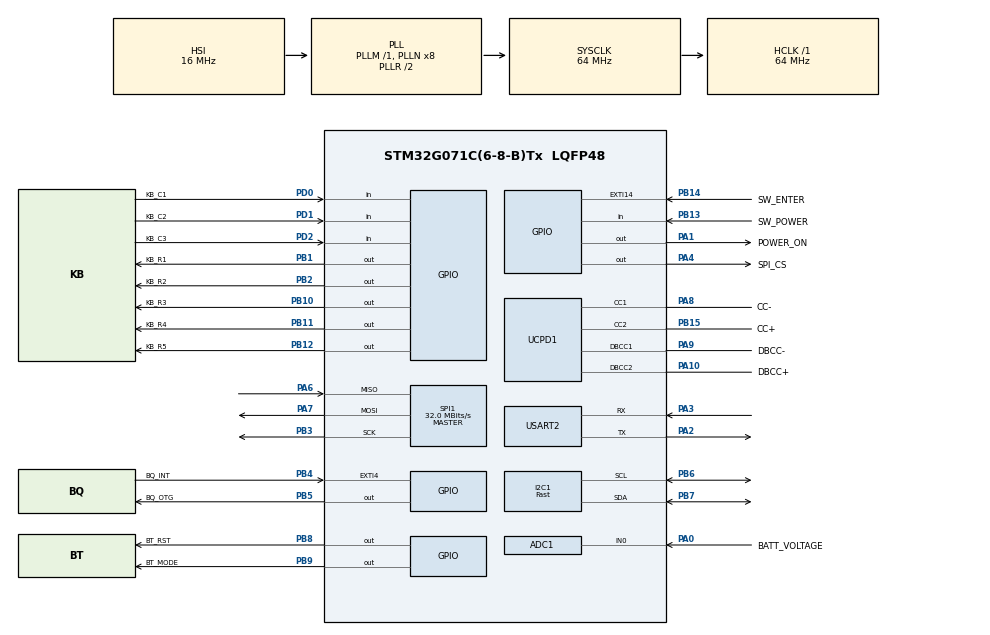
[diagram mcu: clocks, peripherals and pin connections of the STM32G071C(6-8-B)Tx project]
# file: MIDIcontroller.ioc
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ADC1.Channel-0\#ChannelRegularConversion=ADC_CHANNEL_0
ADC1.ClockPrescaler=ADC_CLOCK_ASYNC_DIV256
ADC1.ContinuousConvMode=ENABLE
ADC1.DMAContinuousRequests=DISABLE
ADC1.EOCSelection=ADC_EOC_SINGLE_CONV
ADC1.NbrOfConversion=1
ADC1.NbrOfConversionFlag=1
ADC1.OversamplingMode=DISABLE
ADC1.Rank-0\#ChannelRegularConversion=1
ADC1.SamplingTime-0\#ChannelRegularConversion=ADC_SAMPLINGTIME_COMMON_1
ADC1.SamplingTimeCommon1=ADC_SAMPLETIME_160CYCLES_5
ADC1.ScanConvMode=ADC_SCAN_DISABLE
ADC1.master=1
Dma.I2C1_TX.0.Direction=DMA_MEMORY_TO_PERIPH
Dma.I2C1_TX.0.EventEnable=DISABLE
Dma.I2C1_TX.0.Instance=DMA1_Channel1
Dma.I2C1_TX.0.MemDataAlignment=DMA_MDATAALIGN_BYTE
Dma.I2C1_TX.0.MemInc=DMA_MINC_ENABLE
Dma.I2C1_TX.0.Mode=DMA_NORMAL
Dma.I2C1_TX.0.PeriphDataAlignment=DMA_PDATAALIGN_BYTE
Dma.I2C1_TX.0.PeriphInc=DMA_PINC_DISABLE
Dma.I2C1_TX.0.Polarity=HAL_DMAMUX_REQ_GEN_RISING
Dma.I2C1_TX.0.Priority=DMA_PRIORITY_VERY_HIGH
Dma.I2C1_TX.0.RequestNumber=1
Dma.I2C1_TX.0.SignalID=NONE
Dma.I2C1_TX.0.SyncEnable=DISABLE
Dma.I2C1_TX.0.SyncPolarity=HAL_DMAMUX_SYNC_NO_EVENT
Dma.I2C1_TX.0.SyncRequestNumber=1
Dma.I2C1_TX.0.SyncSignalID=NONE
Dma.Request0=I2C1_TX
I2C1.I2C_Speed_Mode=I2C_Fast
I2C1.Timing=0x00602173
Mcu.Family=STM32G0
Mcu.Name=STM32G071C(6-8-B)Tx
Mcu.Package=LQFP48
NVIC.ADC1_COMP_IRQn=true\:0\:0\:false\:false\:true\:true\:true
NVIC.DMA1_Channel1_IRQn=true\:0\:0\:false\:false\:true\:false\:true
NVIC.EXTI4_15_IRQn=true\:0\:0\:false\:false\:true\:true\:true
NVIC.I2C1_IRQn=true\:0\:0\:false\:false\:true\:true\:true
NVIC.TIM1_BRK_UP_TRG_COM_IRQn=true\:0\:0\:false\:false\:true\:true\:true
NVIC.TIM1_CC_IRQn=true\:0\:0\:false\:false\:true\:true\:true
NVIC.TIM2_IRQn=true\:0\:0\:false\:false\:true\:true\:true
NVIC.TIM3_IRQn=true\:0\:0\:false\:false\:true\:true\:true
NVIC.TIM6_DAC_LPTIM1_IRQn=true\:0\:0\:false\:false\:true\:true\:true
NVIC.TIM7_LPTIM2_IRQn=true\:0\:0\:false\:false\:true\:true\:true
NVIC.USART2_IRQn=true\:0\:0\:false\:false\:true\:true\:true
PA0.GPIO_Label=BATT_VOLTAGE
PA0.Mode=IN0
PA0.Signal=ADC1_IN0
PA1.GPIO_Label=POWER_ON
PA1.GPIO_ModeDefaultOutputPP=GPIO_MODE_OUTPUT_PP
PA1.GPIO_PuPd=GPIO_NOPULL
PA1.GPIO_Speed=GPIO_SPEED_FREQ_LOW
PA1.PinState=GPIO_PIN_RESET
PA1.Signal=GPIO_Output
PA10.GPIO_Label=DBCC+
PA10.Mode=EnableDeadBattery
PA10.Signal=UCPD1_DBCC2
PA13.Mode=Serial_Wire
PA13.Signal=SYS_SWDIO
PA14-BOOT0.Mode=Serial_Wire
PA14-BOOT0.Signal=SYS_SWCLK
PA2.Mode=Asynchronous
PA2.Signal=USART2_TX
PA3.Mode=Asynchronous
PA3.Signal=USART2_RX
PA4.GPIO_Label=SPI_CS
PA4.Signal=GPIO_Output
PA5.GPIO_Label=DET_5V
PA5.Signal=ADC1_IN5
PA6.Mode=Full_Duplex_Master
PA6.Signal=SPI1_MISO
PA7.Mode=Full_Duplex_Master
PA7.Signal=SPI1_MOSI
PA8.GPIO_Label=CC-
PA8.Mode=Sink_AllSignals
PA8.Signal=UCPD1_CC1
PA9.GPIO_Label=DBCC-
PA9.Mode=EnableDeadBattery
PA9.Signal=UCPD1_DBCC1
PB1.GPIO_Label=KB_R1
PB1.GPIO_Speed=GPIO_SPEED_FREQ_VERY_HIGH
PB1.Signal=GPIO_Output
PB10.GPIO_Label=KB_R3
PB10.GPIO_Speed=GPIO_SPEED_FREQ_VERY_HIGH
PB10.Signal=GPIO_Output
PB11.GPIO_Label=KB_R4
PB11.GPIO_Speed=GPIO_SPEED_FREQ_VERY_HIGH
PB11.Signal=GPIO_Output
PB12.GPIO_Label=KB_R5
PB12.GPIO_Speed=GPIO_SPEED_FREQ_VERY_HIGH
PB12.Signal=GPIO_Output
PB13.GPIO_Label=SW_POWER
PB13.GPIO_PuPd=GPIO_PULLDOWN
PB13.Signal=GPIO_Input
PB14.GPIO_Label=SW_ENTER
PB14.GPIO_ModeDefaultEXTI=GPIO_MODE_IT_FALLING
PB14.Signal=GPXTI14
PB15.GPIO_Label=CC+
PB15.Mode=Sink_AllSignals
PB15.Signal=UCPD1_CC2
PB2.GPIO_Label=KB_R2
PB2.GPIO_Speed=GPIO_SPEED_FREQ_VERY_HIGH
PB2.Signal=GPIO_Output
PB3.Mode=Full_Duplex_Master
PB3.Signal=SPI1_SCK
PB4.GPIO_Label=BQ_INT
PB4.Signal=GPXTI4
PB5.GPIO_Label=BQ_OTG
PB5.Signal=GPIO_Output
PB6.Mode=I2C
PB6.Signal=I2C1_SCL
PB7.Mode=I2C
PB7.Signal=I2C1_SDA
PB8.GPIO_Label=BT_RST
PB8.GPIO_ModeDefaultOutputPP=GPIO_MODE_OUTPUT_OD
PB8.GPIO_Speed=GPIO_SPEED_FREQ_VERY_HIGH
PB8.PinState=GPIO_PIN_RESET
PB8.Signal=GPIO_Output
PB9.GPIO_Label=BT_MODE
PB9.GPIO_ModeDefaultOutputPP=GPIO_MODE_OUTPUT_OD
PB9.GPIO_Speed=GPIO_SPEED_FREQ_VERY_HIGH
PB9.PinState=GPIO_PIN_RESET
PB9.Signal=GPIO_Output
PD0.GPIO_Label=KB_C1
PD0.Signal=GPIO_Input
PD1.GPIO_Label=KB_C2
PD1.Signal=GPIO_Input
PD2.GPIO_Label=KB_C3
PD2.Signal=GPIO_Input
ProjectManager.HeapSize=0x200
ProjectManager.StackSize=0x400
ProjectManager.TargetToolchain=TrueSTUDIO
RCC.ADCFreq_Value=64000000
RCC.AHBFreq_Value=64000000
RCC.CortexFreq_Value=64000000
RCC.EXTERNAL_CLOCK_VALUE=48000
RCC.HCLKFreq_Value=64000000
RCC.HSE_VALUE=8000000
RCC.HSI_VALUE=16000000
RCC.LSE_VALUE=32768
RCC.SYSCLKFreq_VALUE=64000000
RCC.SYSCLKSource=RCC_SYSCLKSOURCE_PLLCLK
RCC.VCOOutputFreq_Value=128000000
SPI1.CalculateBaudRate=32.0 MBits/s
SPI1.Direction=SPI_DIRECTION_2LINES
SPI1.Mode=SPI_MODE_MASTER
SPI1.VirtualType=VM_MASTER
TIM1.Period=10
TIM1.Prescaler=63999
TIM2.Period=13200
TIM2.Prescaler=319
TIM3.Period=1000
TIM3.Prescaler=31999
TIM6.Period=100
TIM6.Prescaler=6399
TIM7.Period=125
TIM7.Prescaler=32000
USART2.FIFOMode=FIFOMODE_ENABLE
USART2.VirtualMode-Asynchronous=VM_ASYNC
VP_RTC_VS_RTC_Activate.Mode=RTC_Enabled
VP_SYS_VS_DBSignals.Mode=DisableDeadBatterySignals
VP_TIM1_VS_ClockSourceINT.Mode=Internal
VP_TIM2_VS_ClockSourceINT.Mode=Internal
VP_TIM3_VS_ClockSourceINT.Mode=Internal
VP_TIM6_VS_ClockSourceINT.Mode=Enable_Timer
VP_TIM7_VS_ClockSourceINT.Mode=Enable_Timer
board=custom

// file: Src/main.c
/* USER CODE BEGIN Header */
/**
  ******************************************************************************
  * @file           : main.c
  * @brief          : Main program body
  ******************************************************************************
  * @attention
  *
  * <h2><center>&copy; Copyright (c) 2020 STMicroelectronics.
  * All rights reserved.</center></h2>
  *
  * This software component is licensed by ST under BSD 3-Clause license,
  * the "License"; You may not use this file except in compliance with the
  * License. You may obtain a copy of the License at:
  *                        opensource.org/licenses/BSD-3-Clause
  *
  ******************************************************************************
  */
/* USER CODE END Header */

#include "main.h"
#include "adc.h"
#include "dma.h"
#include "i2c.h"
#include "rtc.h"
#include "spi.h"
#include "tim.h"
#include "ucpd.h"
#include "usart.h"
#include "gpio.h"

/* USER CODE BEGIN Includes */
#include "oled.h"
#include "encoder.h"
#include "bluetooth.h"
#include <stdio.h>
#include "midiController.h"
#include "msgDecoder.h"

/* USER CODE END Includes */

/* USER CODE BEGIN PV */

uint16_t midiFifoIndex;
uint8_t midiFifo[500], uartMsgDecodeBuff[300];
extern struct menuitem mainmenu[5];

unsigned int sw = 0;
uint8_t c, cycles = 0 ;
char buffer[60];

int x = 0;

int turnOffCounter = 0, turnOffEnable = 0;
#define TURN_OFF_DELAY 3

/* USER CODE END PV */

void SystemClock_Config(void);

int main(void)
{

  /* MCU Configuration--------------------------------------------------------*/

  /* Reset of all peripherals, Initializes the Flash interface and the Systick. */
  HAL_Init();

  /* Configure the system clock */
  SystemClock_Config();

  /* Initialize all configured peripherals */
  MX_GPIO_Init();
  MX_DMA_Init();
  MX_ADC1_Init();
  MX_I2C1_Init();
  MX_SPI1_Init();
  MX_UCPD1_Init();
  MX_TIM2_Init();
  MX_TIM1_Init();
  MX_RTC_Init();
  MX_TIM3_Init();
  MX_USART2_UART_Init();
  MX_TIM6_Init();
  MX_TIM7_Init();
  /* USER CODE BEGIN 2 */

  midiController_init();

  HAL_GPIO_WritePin(GPIOA, GPIO_PIN_1, GPIO_PIN_SET);

  HAL_RTC_Init(&hrtc);

  oled_begin();

  HAL_TIM_Base_Start_IT(&htim1);

  bluetoothInit();

  HAL_TIM_Base_Start_IT(&htim3);
  HAL_TIM_Base_Start_IT(&htim7);

  HAL_ADC_Start(&hadc1);

  if(bluetoothConnectKnown()){
  	  btStreamOpen = 1;
  	  btCmdMode = 0;
   }

  HAL_Delay(2000);

  midiController_get_time();

  oledType = OLED_MENU;
  turnOffEnable = 1;
  battVoltageTempCount = 0;
  HAL_ADC_PollForConversion (&hadc1, 1000);
  battVoltage = HAL_ADC_GetValue(&hadc1);

  /* USER CODE END 2 */

  /* Infinite loop */
  /* USER CODE BEGIN WHILE */
  while (1)
  {

	  	  if(workerTurnOff.assert){
	  		HAL_TIM_Base_Stop_IT(&htim1);
	  		HAL_TIM_Base_Stop_IT(&htim2);
	  		HAL_TIM_Base_Stop_IT(&htim3);
	  		HAL_TIM_Base_Stop_IT(&htim6);
	  		HAL_TIM_Base_Stop_IT(&htim7);
	  		HAL_GPIO_WritePin(GPIOA, GPIO_PIN_1, GPIO_PIN_RESET);
				while(1){
					HAL_GPIO_WritePin(GPIOA, GPIO_PIN_1, GPIO_PIN_RESET);
				}
	  	  }

		  //Pokud byl request na skenovani
		  if(workerBtScanDev.assert){
			 if(bluetoothGetScannedDevices()){
				 oled_setDisplayedMenu("btScanedDevices", &btScanedDevices, sizeof(btScanedDevices)-(20-btScannedCount-1)*sizeof(btScanedDevices[19]), 0);
			 }else oled_setDisplayedSplash(oled_NothingFound, NULL);
			 workerBtScanDev.assert = 0;
		  }

		  if(workerBtBondDev.assert){
			 if(bluetoothGetBondedDevices()){
				 oled_setDisplayedMenu("btBondedDevicesMenu", &btBondedDevicesMenu, sizeof(btBondedDevicesMenu)-(10-btBondedCount-1)*sizeof(btBondedDevicesMenu[9]), 0);
			 }else oled_setDisplayedSplash(oled_NothingFound, NULL);
			 workerBtBondDev.assert = 0;
		  }

	 	  if(btMsgReceivedFlag){
	 		  decodeMessage(uartMsgDecodeBuff, ((uartMsgDecodeBuff[6] & 0x04) >> 2));
	 		  btMsgReceivedFlag = 0;
	 	  }

		  if(workerBtRemoveController.assert){
		  		if(!btCmdMode) bluetoothEnterCMD();
		  		char cmd[10];
		  		sprintf(cmd,"U,%d\r", (btSelectedController+1));
		  		bluetoothCMD_ACK(cmd, BT_AOK);
		  		if(btCmdMode) bluetoothLeaveCMD();
		  		oled_setDisplayedMenu("mainmenu",&mainmenu, sizeof(mainmenu), 0);
		  		workerBtRemoveController.assert = 0;
		  }

	 	  if(workerBtEnterPairingKey.assert){
	 		  if(!btCmdMode) bluetoothEnterCMD();
	 		  char pin[10];
	 		  sprintf(pin, "%06ld\r", btPairReq.pin);
	 		  bluetoothCMD_ACK(pin, "");
	 		 if(btCmdMode) bluetoothLeaveCMD();
	 		 workerDesert(&workerBtEnterPairingKey);
	 	  }

	 	 if(workerBtConnect.assert){
	 		 bluetoothConnect(workerBtConnectMAC);

	 		 workerBtConnect.assert = 0;
	 	 }

	 	if(workerGetSongs.assert){
	 		if(workerGetSongs.status == WORKER_OK){
	 			oled_setDisplayedMenu("songmenu",&songMenu, (songMenuSize+1)*sizeof(struct menuitem), 1);
	 			workerGetSongs.assert = 0;
	 		}else if(workerGetSongs.status == WORKER_ERR){
	 			oled_setDisplayedSplash(oled_ErrorSplash, "pri nacitani pisni");
	 			workerGetSongs.assert = 0;
	 		}
	 	}

	 	if(workerMiscelaneous.assert){
	 		HAL_ADC_PollForConversion (&hadc1, 1000);
	 		battVoltageTemp += HAL_ADC_GetValue(&hadc1);
	 		battVoltageTempCount++;

	 		if(battVoltageTempCount >= 10){
	 			battVoltage = battVoltageTemp / battVoltageTempCount;
	 			battVoltageTempCount = 0;
	 			battVoltageTemp = 0;
	 		}
	 		//Odesle informaci o svoji pritonosti
	 		char msg[] = {INTERNAL_COM, INTERNAL_COM_KEEPALIVE};
	 		sendMsg(ADDRESS_CONTROLLER, ADDRESS_OTHER, 1, INTERNAL, msg, 2);
	 		workerDesert(&workerMiscelaneous);
	 	}

	 	if(workerDispRefresh.assert){
	 		char buff[20];
	 		uint8_t changed = 0;

	 		//Pokud se lisi nastavene a existujici cislo pisne
	 		sprintf(buff, "%c%c%c%c", dispSong[3], dispSong[2], dispSong[1], dispSong[0]);
	 		if(strcmp(numDispSong.enteredValue,buff)){
	 			dispSong[3] = numDispSong.enteredValue[0];
	 			dispSong[2] = numDispSong.enteredValue[1];
	 			dispSong[1] = numDispSong.enteredValue[2];
	 			dispSong[0] = numDispSong.enteredValue[3];

	 		}

	 		//Pokud se lisi nastavene a existujici cislo sloky
	 		sprintf(buff, "%c%c", dispVerse[1], dispVerse[0]);
	 		if(strcmp(numDispSong.enteredValue,buff)){
	 			dispVerse[1] = numDispVerse.enteredValue[0];
	 			dispVerse[0] = numDispVerse.enteredValue[1];

	 		}

	 		//Pokud se lisi nastavene a existujici pismeno
	 		if(numDispLetter.enteredValue[0] != dispLetter){
	 			dispLetter = numDispLetter.enteredValue[0];
	 			changed = 1;
	 		}

	 		if(dispLED != dispLEDOld){
	 			changed = 1;
	 			dispLEDOld = dispLED;
	 		}

	 		if(changed){
	 			uint8_t data[9];
	 			data[0] = 0xB0;
	 			data[1] =  (dispVerse[0] <= '9' && dispVerse[0] >= '0') ? dispVerse[0]-48 : 0xE0;
	 			data[2] =  (dispVerse[1] <= '9' && dispVerse[1] >= '0') ? dispVerse[1]-48 : 0xE0;
	 			data[3] =  (dispSong[0] <= '9' && dispSong[0] >= '0') ? dispSong[0]-48 : 0xE0;
	 			data[4] =  (dispSong[1] <= '9' && dispSong[1] >= '0') ? dispSong[1]-48 : 0xE0;
	 			data[5] =  (dispSong[2] <= '9' && dispSong[2] >= '0') ? dispSong[2]-48 : 0xE0;
	 			data[6] =  (dispSong[3] <= '9' && dispSong[3] >= '0') ? dispSong[3]-48 : 0xE0;
	 			data[7] =  (dispLetter <= 'D' && dispLetter >= 'A') ? dispLetter-55 : 0xE0;
	 			data[8] =  (dispLED <= 3 && dispLetter >= 0) ? 0x20 | dispLED : 0xE0;
	 			midiController_setDisplayRaw(data, 9);
	 			changed = 0;
	 		}

	 		workerDesert(&workerDispRefresh);
	 	}

		if(workerRecord.assert){
			if(workerRecord.status == WORKER_REQUEST){
				char msg[50];
				msg[0] = INTERNAL_COM;
				msg[1] = INTERNAL_COM_CHECK_NAME;
				sprintf(&msg[2], "%s", numRecordSong.enteredValue);
				sendMsg(ADDRESS_CONTROLLER, ADDRESS_PC, 0, INTERNAL, msg, strlen(numRecordSong.enteredValue)+2);
				workerRecord.status = WORKER_WAITING;
			}else if(workerRecord.status == WORKER_OK){
				midiController_record(ADDRESS_CONTROLLER, numRecordSong.enteredValue);
				workerDesert(&workerRecord);
			}else if(workerRecord.status == WORKER_ERR){
				oled_setDisplayedSplash(oled_NameExistsSplash, "");
				workerDesert(&workerRecord);
			}

		  }

    /* USER CODE END WHILE */

  }
}

void SystemClock_Config(void)
{
  RCC_OscInitTypeDef RCC_OscInitStruct = {0};
  RCC_ClkInitTypeDef RCC_ClkInitStruct = {0};
  RCC_PeriphCLKInitTypeDef PeriphClkInit = {0};

  /** Configure the main internal regulator output voltage
  */
  HAL_PWREx_ControlVoltageScaling(PWR_REGULATOR_VOLTAGE_SCALE1);
  /** Initializes the CPU, AHB and APB busses clocks
  */
  RCC_OscInitStruct.OscillatorType = RCC_OSCILLATORTYPE_HSI|RCC_OSCILLATORTYPE_LSI;
  RCC_OscInitStruct.HSIState = RCC_HSI_ON;
  RCC_OscInitStruct.HSIDiv = RCC_HSI_DIV1;
  RCC_OscInitStruct.HSICalibrationValue = RCC_HSICALIBRATION_DEFAULT;
  RCC_OscInitStruct.LSIState = RCC_LSI_ON;
  RCC_OscInitStruct.PLL.PLLState = RCC_PLL_ON;
  RCC_OscInitStruct.PLL.PLLSource = RCC_PLLSOURCE_HSI;
  RCC_OscInitStruct.PLL.PLLM = RCC_PLLM_DIV1;
  RCC_OscInitStruct.PLL.PLLN = 8;
  RCC_OscInitStruct.PLL.PLLP = RCC_PLLP_DIV2;
  RCC_OscInitStruct.PLL.PLLQ = RCC_PLLQ_DIV2;
  RCC_OscInitStruct.PLL.PLLR = RCC_PLLR_DIV2;
  if (HAL_RCC_OscConfig(&RCC_OscInitStruct) != HAL_OK)
  {
    Error_Handler();
  }
  /** Initializes the CPU, AHB and APB busses clocks
  */
  RCC_ClkInitStruct.ClockType = RCC_CLOCKTYPE_HCLK|RCC_CLOCKTYPE_SYSCLK
                              |RCC_CLOCKTYPE_PCLK1;
  RCC_ClkInitStruct.SYSCLKSource = RCC_SYSCLKSOURCE_PLLCLK;
  RCC_ClkInitStruct.AHBCLKDivider = RCC_SYSCLK_DIV1;
  RCC_ClkInitStruct.APB1CLKDivider = RCC_HCLK_DIV1;

  if (HAL_RCC_ClockConfig(&RCC_ClkInitStruct, FLASH_LATENCY_2) != HAL_OK)
  {
    Error_Handler();
  }
  /** Initializes the peripherals clocks
  */
  PeriphClkInit.PeriphClockSelection = RCC_PERIPHCLK_RTC|RCC_PERIPHCLK_USART2
                              |RCC_PERIPHCLK_I2C1|RCC_PERIPHCLK_ADC
                              |RCC_PERIPHCLK_TIM1;
  PeriphClkInit.Usart2ClockSelection = RCC_USART2CLKSOURCE_PCLK1;
  PeriphClkInit.I2c1ClockSelection = RCC_I2C1CLKSOURCE_PCLK1;
  PeriphClkInit.AdcClockSelection = RCC_ADCCLKSOURCE_SYSCLK;
  PeriphClkInit.Tim1ClockSelection = RCC_TIM1CLKSOURCE_PCLK1;
  PeriphClkInit.RTCClockSelection = RCC_RTCCLKSOURCE_LSI;

  if (HAL_RCCEx_PeriphCLKConfig(&PeriphClkInit) != HAL_OK)
  {
    Error_Handler();
  }
}

/* USER CODE BEGIN 4 */
void HAL_TIM_PeriodElapsedCallback(TIM_HandleTypeDef *htim){

	if(htim->Instance == TIM2){
		//Obnovi se oled displej
		oled_refresh();
	}

	if(htim->Instance == TIM1){
		midiController_checkKeyboard();

		if(keypad.changed){
			if(keypad.up){
				encoderpos--;
				keyboardVertPosOld = keyboardVertPos;
				keyboardVertPos++;
			}else if(keypad.down){
				encoderpos++;
				keyboardVertPosOld = keyboardVertPos;
				keyboardVertPos--;
			}

			if(keypad.right){
				keyboardSidePos++;
			}else if(keypad.left){
				keyboardSidePos--;
			}

			keypadClicks.zero |= keypad.zero;
			keypadClicks.one |= keypad.one;
			keypadClicks.two |= keypad.two;
			keypadClicks.three |= keypad.three;
			keypadClicks.four |= keypad.four;
			keypadClicks.five |= keypad.five;
			keypadClicks.six |= keypad.six;
			keypadClicks.seven |= keypad.seven;
			keypadClicks.eight |= keypad.eight;
			keypadClicks.nine |= keypad.nine;
			keypadClicks.down |= keypad.down;
			keypadClicks.up |= keypad.up;
			keypadClicks.left |= keypad.left;
			keypadClicks.right |= keypad.right;
			keypadClicks.enter |= keypad.enter;
			keypadClicks.mf1 |= keypad.mf1;
			keypadClicks.power |= keypad.power;

			//Dopocita se pozice v dispmenu
			if(encoderpos >= (signed int)(dispmenusize)-1){
				encoderpos = (signed int)(dispmenusize)-1;
			}else if(encoderpos < (signed int)0){
				encoderpos = 0;
			}

			if(keyboardSidePos >= keyboardSidePosMax){
				keyboardSidePos = keyboardSidePosMax;
			}else if(keyboardSidePos < 0){
				keyboardSidePos = 0;
			}

			if(keyboardVertPos >= keyboardVertPosMax){
				keyboardVertPos = keyboardVertPosMax;
			}else if(keyboardVertPos < 0){
				keyboardVertPos = 0;
			}

			if(keypad.enter > 0){
				encoderclick = 1;
				keypad.enter = 0;
			}

			keypad.changed = 0;
		}

	}

	if(htim->Instance == TIM3){

		if(loadingStat == 2){
			workerAssert(&workerMiscelaneous);
		}

		midiController_keepalive_process();

		//Tady se dela scrollovani
		if(scrollPauseDone){
			if(scrollIndex <= scrollMax){
				scrollIndex++;
			}else{
				scrollPauseDone = 0;
			}
		}else scrollPause++;

		if(scrollPause == OLED_MENU_SCROLL_PAUSE){
			if(scrollIndex > 0){
				scrollPauseDone = 0;
			}else scrollPauseDone = 1;

			scrollPause = 0;
			scrollIndex = 0;
		}

		if(loadingStat < 4){
			loadingStat <<= 1;
		}else loadingStat = 1;

		if(battAnim < 4){
			battAnim++;
		}else battAnim = 0;

		loadingToggle = ~loadingToggle;

		if(btStatusMsg){
			btStatusMsgWD++;

			if(btStatusMsgWD >= 2){
				bluetoothMsgFifoFlush();
				btStatusMsg = 0;
				btStatusMsgWD = 0;
			}
		}else btStatusMsgWD = 0;

		if(turnOffEnable){
			if(keypad.power && turnOffCounter == 0){
				oled_setDisplayedSplash(oled_LoadingSplash, "Vypinam");
				turnOffCounter++;
			}else if(keypad.power && turnOffCounter < TURN_OFF_DELAY*2){
				turnOffCounter++;
			}else if(!keypad.power && turnOffCounter > 0 && turnOffCounter < TURN_OFF_DELAY*2){
				turnOffCounter = 0;
				oledType = OLED_MENU;
			}else if(turnOffCounter >= TURN_OFF_DELAY*2 && keypad.power){
				oled_setDisplayedSplash(oled_ShutdownSplash, "");
			}else if(turnOffCounter >= TURN_OFF_DELAY*2 && !keypad.power){
				//HAL_NVIC_SystemReset();
				workerAssert(&workerTurnOff);
			}
		}

		HAL_I2C_Mem_Read(&hi2c1, (0x6B<<1), 0x08, 1, &I2C_buffer[8], 1, HAL_MAX_DELAY);

		if((I2C_buffer[8] & 0x0C) == 0x01 || (I2C_buffer[8] & 0x0C) == 0x02){
			battStatus = 5;
		}else{
			if(battVoltage > 2960){
				battStatus = 4;
			}else if(battVoltage < 2900 && battVoltage > 2620){
				battStatus = 2;
			}else if(battVoltage < 2560){
				battStatus = 0;
			}
		}

	}

	if(htim->Instance == TIM6){
		HAL_TIM_Base_Stop_IT(&htim6);
		HAL_NVIC_DisableIRQ(TIM6_DAC_LPTIM1_IRQn);

	    keypad.enter = !(HAL_GPIO_ReadPin(GPIOB, GPIO_PIN_14));
		keypad.changed = 1;
		x++;

		//sprintf(oledHeader, "%d %d", x,  keypad.enter);

		HAL_NVIC_ClearPendingIRQ(EXTI4_15_IRQn);
		HAL_NVIC_EnableIRQ(EXTI4_15_IRQn);
		HAL_NVIC_ClearPendingIRQ(EXTI4_15_IRQn);
		HAL_NVIC_EnableIRQ(TIM6_DAC_LPTIM1_IRQn);
	}

	if(htim->Instance == TIM7){
		if(btData && btDataIcon == -1){
			btDataIcon = 0;
		}

		if(btDataIcon != -1 && btDataIcon < 3){
			btDataIcon++;
		}else if(btDataIcon != -1){
			btDataIcon = -1;
			btData = 0;
		}
	}

}

void HAL_GPIO_EXTI_Falling_Callback(uint16_t GPIO_Pin)
{
	if(GPIO_Pin == GPIO_PIN_14 && HAL_TIM_Base_GetState(&htim6) != HAL_TIM_STATE_BUSY){
		HAL_NVIC_EnableIRQ(TIM6_DAC_LPTIM1_IRQn);
		HAL_TIM_Base_Start_IT(&htim6);
		HAL_NVIC_DisableIRQ(EXTI4_15_IRQn);
	}
}

void HAL_UART_RxCpltCallback(UART_HandleTypeDef *huart){

	if(huart->Instance == USART2){
		//Pokud dostal status message od modulu
				if((btFifoByte == '%' || btStatusMsg) && !btCmdMode){
					if(btFifoByte == '%') btStatusMsg = ~btStatusMsg;
					if(btFifoByte == '%' && !btStatusMsg) bluetoothDecodeMsg();
					btMsgFifo[btMsgFifoIndex++] = btFifoByte;
				}else if(!btStatusMsg){

					if(!btCmdMode && btFifoByte == 0 && btNullCounter < 4 && btComMessageSizeFlag < 2){
						//Odpocitaji se 4 nully
						btNullCounter++;
					}else if(btNullCounter == 4 && btComMessageSizeFlag < 2){
						btMsgReceivedFlag = 0;
						//Odpocita se velikost
						btComMessageSizeFlag++;
						btMessageLen = 0;
					}else if(btNullCounter == 4 && btComMessageSizeFlag == 2 && btMessageLen == 0){
						//Zapise se index zacatku zpravy
						btComMessageStartIndex = btFifoIndex-6;

						btMessageLen = ((btFifo[btComMessageStartIndex+4] << 8) & 0xff00) | (btFifo[btComMessageStartIndex+5] & 0xff);

					}

					btFifo[btFifoIndex++] = btFifoByte;

					if(btMessageLen > 0 && (btFifoIndex) >= btMessageLen+btComMessageStartIndex+6 && btNullCounter == 4 && btComMessageSizeFlag == 2){

						memcpy(uartMsgDecodeBuff, btFifo+btComMessageStartIndex, btMessageLen+6);
						btMsgReceivedFlag = 1;
						bluetoothFifoFlush();
						btNullCounter = 0;
						btComMessageSizeFlag = 0;
					}

				}

				HAL_UART_Receive_IT(&huart2, &btFifoByte, 1);
	}
}

void HAL_UART_TxCpltCallback(UART_HandleTypeDef *huart){

}

void HAL_ADC_ConvCpltCallback(ADC_HandleTypeDef* hadc){
}

/* USER CODE END 4 */

void Error_Handler(void)
{
}

/************************ (C) COPYRIGHT STMicroelectronics *****END OF FILE****/
